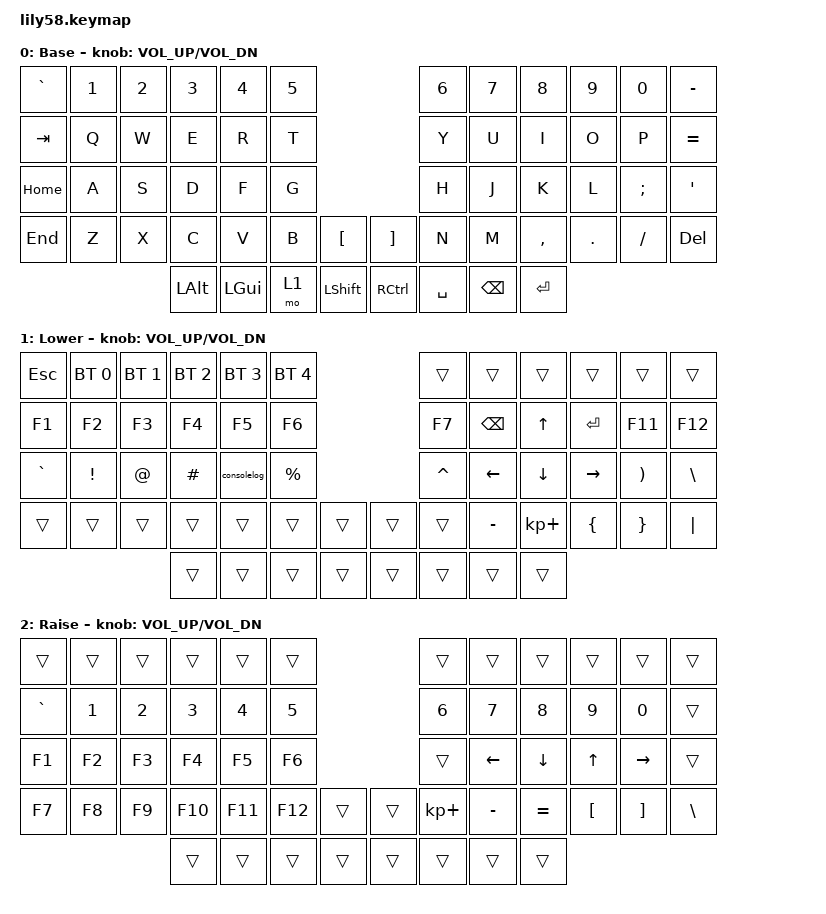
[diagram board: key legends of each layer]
/*
 * Copyright (c) 2020 The ZMK Contributors
 *
 * SPDX-License-Identifier: MIT
 */

#include <behaviors.dtsi>
#include <dt-bindings/zmk/bt.h>
#include <dt-bindings/zmk/keys.h>

/ {
    macros {
        consolelog: consolelog {
            compatible = "zmk,behavior-macro";
            #binding-cells = <0>;
            bindings = <&kp C &kp O &kp N &kp S &kp O &kp L &kp E &kp DOT &kp L &kp O &kp G &kp LPAR &kp RPAR &kp LEFT>;
            label = "CONSOLELOG";
        };
    };

    keymap {
        compatible = "zmk,keymap";

        default_layer {
            // ------------------------------------------------------------------------------------------------------------
            // |  ESC  |  1  |  2  |  3   |  4   |  5   |                   |  6   |  7    |  8    |  9   |   0   |   `   |
            // |  TAB  |  Q  |  W  |  E   |  R   |  T   |                   |  Y   |  U    |  I    |  O   |   P   |   -   |
            // |  CTRL |  A  |  S  |  D   |  F   |  G   |                   |  H   |  J    |  K    |  L   |   ;   |   '   |
            // | SHIFT |  Z  |  X  |  C   |  V   |  B   |   "["  |  |  "]"  |  N   |  M    |  ,    |  .   |   /   | SHIFT |
            //                     | ALT  | GUI  | LOWER|  SPACE |  | ENTER | RAISE| BSPC  | GUI   |

            display-name = "Base";
            bindings = <
&kp GRAVE  &kp N1  &kp N2  &kp N3    &kp N4    &kp N5                                       &kp N6     &kp N7         &kp N8     &kp N9   &kp N0    &kp MINUS
&kp TAB    &kp Q   &kp W   &kp E     &kp R     &kp T                                        &kp Y      &kp U          &kp I      &kp O    &kp P     &kp EQUAL
&kp HOME   &kp A   &kp S   &kp D     &kp F     &kp G                                        &kp H      &kp J          &kp K      &kp L    &kp SEMI  &kp SQT
&kp END    &kp Z   &kp X   &kp C     &kp V     &kp B   &kp LBKT          &kp RBKT           &kp N      &kp M          &kp COMMA  &kp DOT  &kp FSLH  &kp DELETE
                           &kp LALT  &kp LGUI  &mo 1   &kp LEFT_SHIFT    &kp RIGHT_CONTROL  &kp SPACE  &kp BACKSPACE  &kp ENTER
            >;

            sensor-bindings = <&inc_dec_kp C_VOL_UP C_VOL_DN>;
        };

        lower_layer {
            // ------------------------------------------------------------------------------------------------------------
            // | BTCLR | BT1 | BT2 |  BT3 |  BT4 |  BT5 |                   |      |       |       |      |       |       |
            // |  F1   |  F2 |  F3 |  F4  |  F5  |  F6  |                   |  F7  |  F8   |  F9   |  F10 |  F11  |  F12  |
            // |   `   |  !  |  @  |  #   |  $   |  %   |                   |  ^   |  &    |  *    |  (   |   )   |   ~   |
            // |       |     |     |      |      |      |        |  |       |      |  _    |  +    |  {   |   }   |  "|"  |
            //                     |      |      |      |        |  |       |      |       |       |

            display-name = "Lower";
            bindings = <
&kp ESCAPE  &bt BT_SEL 0  &bt BT_SEL 1  &bt BT_SEL 2  &bt BT_SEL 3  &bt BT_SEL 4                    &trans     &trans         &trans          &trans     &trans    &trans
&kp F1      &kp F2        &kp F3        &kp F4        &kp F5        &kp F6                          &kp F7     &kp BACKSPACE  &kp UP_ARROW    &kp ENTER  &kp F11   &kp F12
&kp GRAVE   &kp EXCL      &kp AT        &kp HASH      &consolelog   &kp PRCNT                       &kp CARET  &kp LEFT       &kp DOWN_ARROW  &kp RIGHT  &kp RPAR  &kp BACKSLASH
&trans      &trans        &trans        &trans        &trans        &trans        &trans    &trans  &trans     &kp MINUS      &kp KP_PLUS     &kp LBRC   &kp RBRC  &kp PIPE
                                        &trans        &trans        &trans        &trans    &trans  &trans     &trans         &trans
            >;

            sensor-bindings = <&inc_dec_kp C_VOL_UP C_VOL_DN>;
        };

        raise_layer {
            // ------------------------------------------------------------------------------------------------------------
            // |       |     |     |      |      |      |                   |      |       |       |      |       |       |
            // |   `   |  1  |  2  |  3   |  4   |  5   |                   |  6   |   7   |   8   |  9   |   0   |       |
            // |   F1  |  F2 |  F3 |  F4  |  F5  |  F6  |                   |      |   <-  |   v   |  ^   |  ->   |       |
            // |   F7  |  F8 |  F9 |  F10 |  F11 |  F12 |        |  |       |  +   |   -   |   =   |  [   |   ]   |   \   |
            //                     |      |      |      |        |  |       |      |       |       |

            display-name = "Raise";
            bindings = <
&trans     &trans  &trans  &trans   &trans   &trans                     &trans       &trans     &trans     &trans    &trans     &trans
&kp GRAVE  &kp N1  &kp N2  &kp N3   &kp N4   &kp N5                     &kp N6       &kp N7     &kp N8     &kp N9    &kp N0     &trans
&kp F1     &kp F2  &kp F3  &kp F4   &kp F5   &kp F6                     &trans       &kp LEFT   &kp DOWN   &kp UP    &kp RIGHT  &trans
&kp F7     &kp F8  &kp F9  &kp F10  &kp F11  &kp F12  &trans    &trans  &kp KP_PLUS  &kp MINUS  &kp EQUAL  &kp LBKT  &kp RBKT   &kp BSLH
                           &trans   &trans   &trans   &trans    &trans  &trans       &trans     &trans
            >;

            sensor-bindings = <&inc_dec_kp C_VOL_UP C_VOL_DN>;
        };

        extra_1 { status = "reserved"; };

        extra_2 { status = "reserved"; };

        extra_3 { status = "reserved"; };
    };
};
